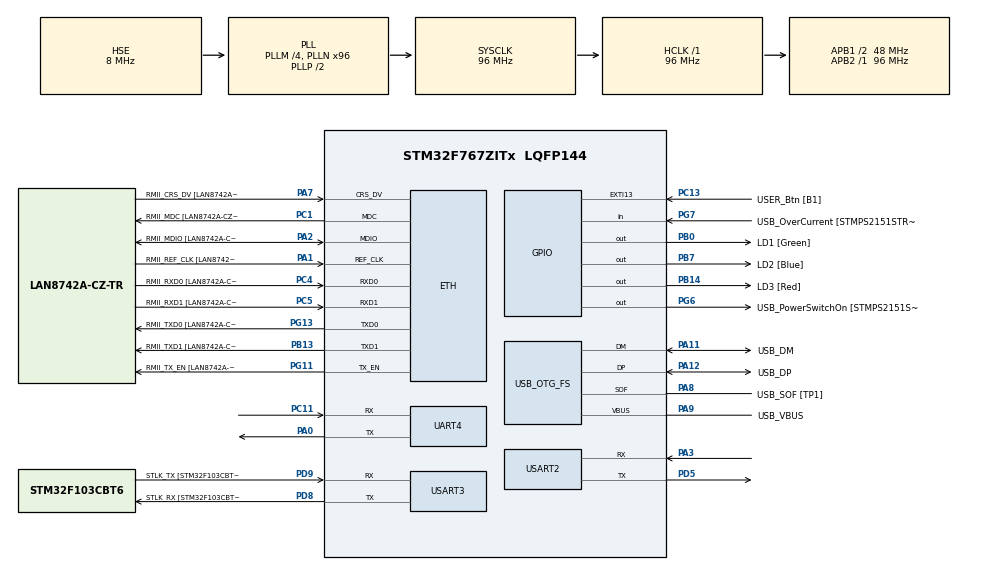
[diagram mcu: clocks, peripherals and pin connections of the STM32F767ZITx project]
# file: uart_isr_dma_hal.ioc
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Dma.Request0=UART4_RX
Dma.UART4_RX.0.Direction=DMA_PERIPH_TO_MEMORY
Dma.UART4_RX.0.FIFOMode=DMA_FIFOMODE_DISABLE
Dma.UART4_RX.0.Instance=DMA1_Stream2
Dma.UART4_RX.0.MemDataAlignment=DMA_MDATAALIGN_BYTE
Dma.UART4_RX.0.MemInc=DMA_MINC_ENABLE
Dma.UART4_RX.0.Mode=DMA_NORMAL
Dma.UART4_RX.0.PeriphDataAlignment=DMA_PDATAALIGN_BYTE
Dma.UART4_RX.0.PeriphInc=DMA_PINC_DISABLE
Dma.UART4_RX.0.Priority=DMA_PRIORITY_LOW
ETH.MediaInterface=HAL_ETH_RMII_MODE
ETH.PHY_Name=LAN8742A_PHY_ADDRESS
ETH.PHY_Value=0
ETH.PhyAddress=0
FREERTOS.Tasks01=defaultTask,24,128,StartDefaultTask,Default,NULL,Dynamic,NULL,NULL
FREERTOS.Timers01=startUart2Traffic,startUart2TrafficEntry,osTimerOnce,Default,NULL,Dynamic,NULL;sendUart2Traffic,sendUart2TrafficEntry,osTimerPeriodic,Default,NULL,Dynamic,NULL
FREERTOS.configUSE_NEWLIB_REENTRANT=1
Mcu.Family=STM32F7
Mcu.Name=STM32F767ZITx
Mcu.Package=LQFP144
NVIC.DMA1_Stream2_IRQn=true\:5\:0\:false\:false\:true\:true\:false\:true\:true
NVIC.PriorityGroup=NVIC_PRIORITYGROUP_4
PA0/WKUP.Mode=Asynchronous
PA0/WKUP.Signal=UART4_TX
PA1.GPIO_Label=RMII_REF_CLK [LAN8742A-CZ-TR_REFCLK0]
PA1.Mode=RMII
PA1.Signal=ETH_REF_CLK
PA10.GPIO_Label=USB_ID
PA10.Signal=USB_OTG_FS_ID
PA11.GPIO_Label=USB_DM
PA11.Mode=Device_Only
PA11.Signal=USB_OTG_FS_DM
PA12.GPIO_Label=USB_DP
PA12.Mode=Device_Only
PA12.Signal=USB_OTG_FS_DP
PA13.GPIO_Label=TMS
PA13.Mode=Serial_Wire
PA13.Signal=SYS_JTMS-SWDIO
PA14.GPIO_Label=TCK
PA14.Mode=Serial_Wire
PA14.Signal=SYS_JTCK-SWCLK
PA2.GPIO_Label=RMII_MDIO [LAN8742A-CZ-TR_MDIO]
PA2.Mode=RMII
PA2.Signal=ETH_MDIO
PA3.Mode=Asynchronous
PA3.Signal=USART2_RX
PA7.GPIO_Label=RMII_CRS_DV [LAN8742A-CZ-TR_CRS_DV]
PA7.Mode=RMII
PA7.Signal=ETH_CRS_DV
PA8.GPIO_Label=USB_SOF [TP1]
PA8.Mode=Activate_SOF_FS
PA8.Signal=USB_OTG_FS_SOF
PA9.GPIO_Label=USB_VBUS
PA9.Mode=Activate_VBUS
PA9.Signal=USB_OTG_FS_VBUS
PB0.GPIO_Label=LD1 [Green]
PB0.Signal=GPIO_Output
PB13.GPIO_Label=RMII_TXD1 [LAN8742A-CZ-TR_TXD1]
PB13.Mode=RMII
PB13.Signal=ETH_TXD1
PB14.GPIO_Label=LD3 [Red]
PB14.Signal=GPIO_Output
PB3.GPIO_Label=SWO
PB3.Signal=SYS_JTDO-SWO
PB7.GPIO_Label=LD2 [Blue]
PB7.Signal=GPIO_Output
PC1.GPIO_Label=RMII_MDC [LAN8742A-CZ-TR_MDC]
PC1.Mode=RMII
PC1.Signal=ETH_MDC
PC11.Mode=Asynchronous
PC11.Signal=UART4_RX
PC13.GPIO_Label=USER_Btn [B1]
PC13.Signal=GPXTI13
PC14/OSC32_IN.Mode=LSE-External-Oscillator
PC14/OSC32_IN.Signal=RCC_OSC32_IN
PC15/OSC32_OUT.Mode=LSE-External-Oscillator
PC15/OSC32_OUT.Signal=RCC_OSC32_OUT
PC4.GPIO_Label=RMII_RXD0 [LAN8742A-CZ-TR_RXD0]
PC4.Mode=RMII
PC4.Signal=ETH_RXD0
PC5.GPIO_Label=RMII_RXD1 [LAN8742A-CZ-TR_RXD1]
PC5.Mode=RMII
PC5.Signal=ETH_RXD1
PD5.Mode=Asynchronous
PD5.Signal=USART2_TX
PD8.GPIO_Label=STLK_RX [STM32F103CBT6_PA3]
PD8.Mode=Asynchronous
PD8.Signal=USART3_TX
PD9.GPIO_Label=STLK_TX [STM32F103CBT6_PA2]
PD9.Mode=Asynchronous
PD9.Signal=USART3_RX
PG11.GPIO_Label=RMII_TX_EN [LAN8742A-CZ-TR_TXEN]
PG11.Mode=RMII
PG11.Signal=ETH_TX_EN
PG13.GPIO_Label=RMII_TXD0 [LAN8742A-CZ-TR_TXD0]
PG13.Mode=RMII
PG13.Signal=ETH_TXD0
PG6.GPIO_Label=USB_PowerSwitchOn [STMPS2151STR_EN]
PG6.Signal=GPIO_Output
PG7.GPIO_Label=USB_OverCurrent [STMPS2151STR_FAULT]
PG7.Signal=GPIO_Input
PH0/OSC_IN.GPIO_Label=MCO [STM32F103CBT6_PA8]
PH0/OSC_IN.Mode=HSE-External-Clock-Source
PH0/OSC_IN.Signal=RCC_OSC_IN
PH1/OSC_OUT.Mode=HSE-External-Clock-Source
PH1/OSC_OUT.Signal=RCC_OSC_OUT
ProjectManager.HeapSize=0x200
ProjectManager.StackSize=0x400
ProjectManager.TargetToolchain=STM32CubeIDE
RCC.48MHZClocksFreq_Value=24000000
RCC.AHBFreq_Value=96000000
RCC.APB1CLKDivider=RCC_HCLK_DIV2
RCC.APB1Freq_Value=48000000
RCC.APB1TimFreq_Value=96000000
RCC.APB2Freq_Value=96000000
RCC.APB2TimFreq_Value=96000000
RCC.CortexFreq_Value=96000000
RCC.HCLKFreq_Value=96000000
RCC.HSE_VALUE=8000000
RCC.HSI_VALUE=16000000
RCC.PLLM=4
RCC.PLLMUL=RCC_PLL_MUL9
RCC.PLLN=96
RCC.PLLQ=4
RCC.PRESCALERUSB=RCC_USBCLKSOURCE_PLL_DIV1_5
RCC.SYSCLKFreq_VALUE=96000000
RCC.SYSCLKSource=RCC_SYSCLKSOURCE_PLLCLK
RCC.SYSCLKSourceVirtual=RCC_SYSCLKSOURCE_PLLCLK
RCC.USBFreq_Value=48000000
RCC.VCOOutputFreq_Value=192000000
USART2.VirtualMode-Asynchronous=VM_ASYNC
USART3.VirtualMode-Asynchronous=VM_ASYNC
USB_OTG_FS.VirtualMode=Device_Only
VP_FREERTOS_VS_CMSIS_V2.Mode=CMSIS_V2
board=NUCLEO-F767ZI

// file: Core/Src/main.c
/* USER CODE BEGIN Header */
/**
  ******************************************************************************
  * @file           : main.c
  * @brief          : Main program body
  ******************************************************************************
  * @attention
  *
  * Copyright (c) 2023 STMicroelectronics.
  * All rights reserved.
  *
  * This software is licensed under terms that can be found in the LICENSE file
  * in the root directory of this software component.
  * If no LICENSE file comes with this software, it is provided AS-IS.
  *
  ******************************************************************************
  */
/* USER CODE END Header */
#include "main.h"
#include "string.h"
#include "cmsis_os.h"

/* USER CODE BEGIN Includes */
#include <SEGGER_SYSVIEW.h>
#include "FreeRTOS.h"
#include "timers.h"
/* USER CODE END Includes */

/* USER CODE BEGIN PTD */
static const uint8_t uart2Msg[1] = "d";
uint8_t UART4_rxBuffer[12] = {0};
/* USER CODE END PTD */

#if defined ( __ICCARM__ ) /*!< IAR Compiler */
#pragma location=0x2007c000
ETH_DMADescTypeDef  DMARxDscrTab[ETH_RX_DESC_CNT]; /* Ethernet Rx DMA Descriptors */
#pragma location=0x2007c0a0
ETH_DMADescTypeDef  DMATxDscrTab[ETH_TX_DESC_CNT]; /* Ethernet Tx DMA Descriptors */

#elif defined ( __CC_ARM )  /* MDK ARM Compiler */

__attribute__((at(0x2007c000))) ETH_DMADescTypeDef  DMARxDscrTab[ETH_RX_DESC_CNT]; /* Ethernet Rx DMA Descriptors */
__attribute__((at(0x2007c0a0))) ETH_DMADescTypeDef  DMATxDscrTab[ETH_TX_DESC_CNT]; /* Ethernet Tx DMA Descriptors */

#elif defined ( __GNUC__ ) /* GNU Compiler */

ETH_DMADescTypeDef DMARxDscrTab[ETH_RX_DESC_CNT] __attribute__((section(".RxDecripSection"))); /* Ethernet Rx DMA Descriptors */
ETH_DMADescTypeDef DMATxDscrTab[ETH_TX_DESC_CNT] __attribute__((section(".TxDecripSection")));   /* Ethernet Tx DMA Descriptors */
#endif

ETH_TxPacketConfig TxConfig;

ETH_HandleTypeDef heth;

UART_HandleTypeDef huart4;
UART_HandleTypeDef huart2;
UART_HandleTypeDef huart3;
DMA_HandleTypeDef hdma_uart4_rx;

PCD_HandleTypeDef hpcd_USB_OTG_FS;

/* Definitions for defaultTask */
osThreadId_t defaultTaskHandle;
const osThreadAttr_t defaultTask_attributes = {
  .name = "defaultTask",
  .stack_size = 128 * 4,
  .priority = (osPriority_t) osPriorityNormal,
};
/* Definitions for startUart2Traffic */
osTimerId_t startUart2TrafficHandle;
const osTimerAttr_t startUart2Traffic_attributes = {
  .name = "startUart2Traffic"
};
/* Definitions for sendUart2Traffic */
osTimerId_t sendUart2TrafficHandle;
const osTimerAttr_t sendUart2Traffic_attributes = {
  .name = "sendUart2Traffic"
};

void SystemClock_Config(void);
static void MX_GPIO_Init(void);
static void MX_DMA_Init(void);
static void MX_USART3_UART_Init(void);
static void MX_USB_OTG_FS_PCD_Init(void);
static void MX_UART4_Init(void);
static void MX_ETH_Init(void);
static void MX_USART2_UART_Init(void);
void StartDefaultTask(void *argument);
void startUart2TrafficEntry(void *argument);
void sendUart2TrafficEntry(void *argument);

int main(void)
{

  /* MCU Configuration--------------------------------------------------------*/

  /* Reset of all peripherals, Initializes the Flash interface and the Systick. */
  HAL_Init();

  /* USER CODE BEGIN Init */
  SEGGER_SYSVIEW_Conf();
  /* USER CODE END Init */

  /* Configure the system clock */
  SystemClock_Config();

  /* Initialize all configured peripherals */
  MX_GPIO_Init();
  MX_DMA_Init();
  MX_USART3_UART_Init();
  MX_USB_OTG_FS_PCD_Init();
  MX_UART4_Init();
  MX_ETH_Init();
  MX_USART2_UART_Init();

  /* Init scheduler */
  osKernelInitialize();

  /* Create the timer(s) */
  /* creation of startUart2Traffic */
  startUart2TrafficHandle = osTimerNew(startUart2TrafficEntry, osTimerOnce, NULL, &startUart2Traffic_attributes);

  /* creation of sendUart2Traffic */
  sendUart2TrafficHandle = osTimerNew(sendUart2TrafficEntry, osTimerPeriodic, NULL, &sendUart2Traffic_attributes);

  /* USER CODE BEGIN RTOS_TIMERS */
  /* start timers, add new ones, ... */
  xTimerStart(startUart2TrafficHandle, 500 / portTICK_PERIOD_MS);
  /* USER CODE END RTOS_TIMERS */

  /* Create the thread(s) */
  /* creation of defaultTask */
  defaultTaskHandle = osThreadNew(StartDefaultTask, NULL, &defaultTask_attributes);

  /* USER CODE BEGIN RTOS_EVENTS */
  /* add events, ... */
  HAL_UART_Receive_DMA (&huart4, UART4_rxBuffer, 1);
  /* USER CODE END RTOS_EVENTS */

  /* Start scheduler */
  osKernelStart();

  /* We should never get here as control is now taken by the scheduler */

  /* Infinite loop */
  while (1)
  {

  }
}

void SystemClock_Config(void)
{
  RCC_OscInitTypeDef RCC_OscInitStruct = {0};
  RCC_ClkInitTypeDef RCC_ClkInitStruct = {0};

  /** Configure LSE Drive Capability
  */
  HAL_PWR_EnableBkUpAccess();

  /** Configure the main internal regulator output voltage
  */
  __HAL_RCC_PWR_CLK_ENABLE();
  __HAL_PWR_VOLTAGESCALING_CONFIG(PWR_REGULATOR_VOLTAGE_SCALE3);

  /** Initializes the RCC Oscillators according to the specified parameters
  * in the RCC_OscInitTypeDef structure.
  */
  RCC_OscInitStruct.OscillatorType = RCC_OSCILLATORTYPE_HSE;
  RCC_OscInitStruct.HSEState = RCC_HSE_BYPASS;
  RCC_OscInitStruct.PLL.PLLState = RCC_PLL_ON;
  RCC_OscInitStruct.PLL.PLLSource = RCC_PLLSOURCE_HSE;
  RCC_OscInitStruct.PLL.PLLM = 4;
  RCC_OscInitStruct.PLL.PLLN = 96;
  RCC_OscInitStruct.PLL.PLLP = RCC_PLLP_DIV2;
  RCC_OscInitStruct.PLL.PLLQ = 4;
  RCC_OscInitStruct.PLL.PLLR = 2;
  if (HAL_RCC_OscConfig(&RCC_OscInitStruct) != HAL_OK)
  {
    Error_Handler();
  }

  /** Activate the Over-Drive mode
  */
  if (HAL_PWREx_EnableOverDrive() != HAL_OK)
  {
    Error_Handler();
  }

  /** Initializes the CPU, AHB and APB buses clocks
  */
  RCC_ClkInitStruct.ClockType = RCC_CLOCKTYPE_HCLK|RCC_CLOCKTYPE_SYSCLK
                              |RCC_CLOCKTYPE_PCLK1|RCC_CLOCKTYPE_PCLK2;
  RCC_ClkInitStruct.SYSCLKSource = RCC_SYSCLKSOURCE_PLLCLK;
  RCC_ClkInitStruct.AHBCLKDivider = RCC_SYSCLK_DIV1;
  RCC_ClkInitStruct.APB1CLKDivider = RCC_HCLK_DIV2;
  RCC_ClkInitStruct.APB2CLKDivider = RCC_HCLK_DIV1;

  if (HAL_RCC_ClockConfig(&RCC_ClkInitStruct, FLASH_LATENCY_3) != HAL_OK)
  {
    Error_Handler();
  }
}

static void MX_ETH_Init(void)
{

   static uint8_t MACAddr[6];

  heth.Instance = ETH;
  MACAddr[0] = 0x00;
  MACAddr[1] = 0x80;
  MACAddr[2] = 0xE1;
  MACAddr[3] = 0x00;
  MACAddr[4] = 0x00;
  MACAddr[5] = 0x00;
  heth.Init.MACAddr = &MACAddr[0];
  heth.Init.MediaInterface = HAL_ETH_RMII_MODE;
  heth.Init.TxDesc = DMATxDscrTab;
  heth.Init.RxDesc = DMARxDscrTab;
  heth.Init.RxBuffLen = 1524;

  if (HAL_ETH_Init(&heth) != HAL_OK)
  {
    Error_Handler();
  }

  memset(&TxConfig, 0 , sizeof(ETH_TxPacketConfig));
  TxConfig.Attributes = ETH_TX_PACKETS_FEATURES_CSUM | ETH_TX_PACKETS_FEATURES_CRCPAD;
  TxConfig.ChecksumCtrl = ETH_CHECKSUM_IPHDR_PAYLOAD_INSERT_PHDR_CALC;
  TxConfig.CRCPadCtrl = ETH_CRC_PAD_INSERT;

}

static void MX_UART4_Init(void)
{

  huart4.Instance = UART4;
  huart4.Init.BaudRate = 115200;
  huart4.Init.WordLength = UART_WORDLENGTH_8B;
  huart4.Init.StopBits = UART_STOPBITS_1;
  huart4.Init.Parity = UART_PARITY_NONE;
  huart4.Init.Mode = UART_MODE_TX_RX;
  huart4.Init.HwFlowCtl = UART_HWCONTROL_NONE;
  huart4.Init.OverSampling = UART_OVERSAMPLING_16;
  huart4.Init.OneBitSampling = UART_ONE_BIT_SAMPLE_DISABLE;
  huart4.AdvancedInit.AdvFeatureInit = UART_ADVFEATURE_NO_INIT;
  if (HAL_UART_Init(&huart4) != HAL_OK)
  {
    Error_Handler();
  }

}

static void MX_USART2_UART_Init(void)
{

  huart2.Instance = USART2;
  huart2.Init.BaudRate = 115200;
  huart2.Init.WordLength = UART_WORDLENGTH_8B;
  huart2.Init.StopBits = UART_STOPBITS_1;
  huart2.Init.Parity = UART_PARITY_NONE;
  huart2.Init.Mode = UART_MODE_TX_RX;
  huart2.Init.HwFlowCtl = UART_HWCONTROL_NONE;
  huart2.Init.OverSampling = UART_OVERSAMPLING_16;
  huart2.Init.OneBitSampling = UART_ONE_BIT_SAMPLE_DISABLE;
  huart2.AdvancedInit.AdvFeatureInit = UART_ADVFEATURE_NO_INIT;
  if (HAL_UART_Init(&huart2) != HAL_OK)
  {
    Error_Handler();
  }

}

static void MX_USART3_UART_Init(void)
{

  huart3.Instance = USART3;
  huart3.Init.BaudRate = 115200;
  huart3.Init.WordLength = UART_WORDLENGTH_8B;
  huart3.Init.StopBits = UART_STOPBITS_1;
  huart3.Init.Parity = UART_PARITY_NONE;
  huart3.Init.Mode = UART_MODE_TX_RX;
  huart3.Init.HwFlowCtl = UART_HWCONTROL_NONE;
  huart3.Init.OverSampling = UART_OVERSAMPLING_16;
  huart3.Init.OneBitSampling = UART_ONE_BIT_SAMPLE_DISABLE;
  huart3.AdvancedInit.AdvFeatureInit = UART_ADVFEATURE_NO_INIT;
  if (HAL_UART_Init(&huart3) != HAL_OK)
  {
    Error_Handler();
  }

}

static void MX_USB_OTG_FS_PCD_Init(void)
{

  hpcd_USB_OTG_FS.Instance = USB_OTG_FS;
  hpcd_USB_OTG_FS.Init.dev_endpoints = 6;
  hpcd_USB_OTG_FS.Init.speed = PCD_SPEED_FULL;
  hpcd_USB_OTG_FS.Init.dma_enable = DISABLE;
  hpcd_USB_OTG_FS.Init.phy_itface = PCD_PHY_EMBEDDED;
  hpcd_USB_OTG_FS.Init.Sof_enable = ENABLE;
  hpcd_USB_OTG_FS.Init.low_power_enable = DISABLE;
  hpcd_USB_OTG_FS.Init.lpm_enable = DISABLE;
  hpcd_USB_OTG_FS.Init.vbus_sensing_enable = ENABLE;
  hpcd_USB_OTG_FS.Init.use_dedicated_ep1 = DISABLE;
  if (HAL_PCD_Init(&hpcd_USB_OTG_FS) != HAL_OK)
  {
    Error_Handler();
  }

}

static void MX_DMA_Init(void)
{

  /* DMA controller clock enable */
  __HAL_RCC_DMA1_CLK_ENABLE();

  /* DMA interrupt init */
  /* DMA1_Stream2_IRQn interrupt configuration */
  HAL_NVIC_SetPriority(DMA1_Stream2_IRQn, 5, 0);
  HAL_NVIC_EnableIRQ(DMA1_Stream2_IRQn);

}

static void MX_GPIO_Init(void)
{
  GPIO_InitTypeDef GPIO_InitStruct = {0};

  /* GPIO Ports Clock Enable */
  __HAL_RCC_GPIOC_CLK_ENABLE();
  __HAL_RCC_GPIOH_CLK_ENABLE();
  __HAL_RCC_GPIOA_CLK_ENABLE();
  __HAL_RCC_GPIOB_CLK_ENABLE();
  __HAL_RCC_GPIOD_CLK_ENABLE();
  __HAL_RCC_GPIOG_CLK_ENABLE();

  /*Configure GPIO pin Output Level */
  HAL_GPIO_WritePin(GPIOB, LD1_Pin|LD3_Pin|LD2_Pin, GPIO_PIN_RESET);

  /*Configure GPIO pin Output Level */
  HAL_GPIO_WritePin(USB_PowerSwitchOn_GPIO_Port, USB_PowerSwitchOn_Pin, GPIO_PIN_RESET);

  /*Configure GPIO pin : USER_Btn_Pin */
  GPIO_InitStruct.Pin = USER_Btn_Pin;
  GPIO_InitStruct.Mode = GPIO_MODE_IT_RISING;
  GPIO_InitStruct.Pull = GPIO_NOPULL;
  HAL_GPIO_Init(USER_Btn_GPIO_Port, &GPIO_InitStruct);

  /*Configure GPIO pins : LD1_Pin LD3_Pin LD2_Pin */
  GPIO_InitStruct.Pin = LD1_Pin|LD3_Pin|LD2_Pin;
  GPIO_InitStruct.Mode = GPIO_MODE_OUTPUT_PP;
  GPIO_InitStruct.Pull = GPIO_NOPULL;
  GPIO_InitStruct.Speed = GPIO_SPEED_FREQ_LOW;
  HAL_GPIO_Init(GPIOB, &GPIO_InitStruct);

  /*Configure GPIO pin : USB_PowerSwitchOn_Pin */
  GPIO_InitStruct.Pin = USB_PowerSwitchOn_Pin;
  GPIO_InitStruct.Mode = GPIO_MODE_OUTPUT_PP;
  GPIO_InitStruct.Pull = GPIO_NOPULL;
  GPIO_InitStruct.Speed = GPIO_SPEED_FREQ_LOW;
  HAL_GPIO_Init(USB_PowerSwitchOn_GPIO_Port, &GPIO_InitStruct);

  /*Configure GPIO pin : USB_OverCurrent_Pin */
  GPIO_InitStruct.Pin = USB_OverCurrent_Pin;
  GPIO_InitStruct.Mode = GPIO_MODE_INPUT;
  GPIO_InitStruct.Pull = GPIO_NOPULL;
  HAL_GPIO_Init(USB_OverCurrent_GPIO_Port, &GPIO_InitStruct);

}

/* USER CODE BEGIN 4 */
void HAL_UART_RxCpltCallback(UART_HandleTypeDef *huart)
{

    HAL_UART_Receive_DMA (&huart4, UART4_rxBuffer, 1);
    SEGGER_SYSVIEW_PrintfHost(&UART4_rxBuffer);
}
/* USER CODE END 4 */

void StartDefaultTask(void *argument)
{
  for(;;)
  {
    osDelay(1);
  }
}

/* startUart2TrafficEntry function */
void startUart2TrafficEntry(void *argument)
{
  /* USER CODE BEGIN startUart2TrafficEntry */
  xTimerStart(sendUart2TrafficHandle, 500 / portTICK_PERIOD_MS);
  SEGGER_SYSVIEW_PrintfHost("start traffic");
  /* USER CODE END startUart2TrafficEntry */
}

/* sendUart2TrafficEntry function */
void sendUart2TrafficEntry(void *argument)
{
  /* USER CODE BEGIN sendUart2TrafficEntry */
	SEGGER_SYSVIEW_PrintfHost("traffic");
	HAL_UART_Transmit(&huart2, uart2Msg, sizeof(uart2Msg), 100);
  /* USER CODE END sendUart2TrafficEntry */
}

void Error_Handler(void)
{
  __disable_irq();
  while (1)
  {
  }
}
